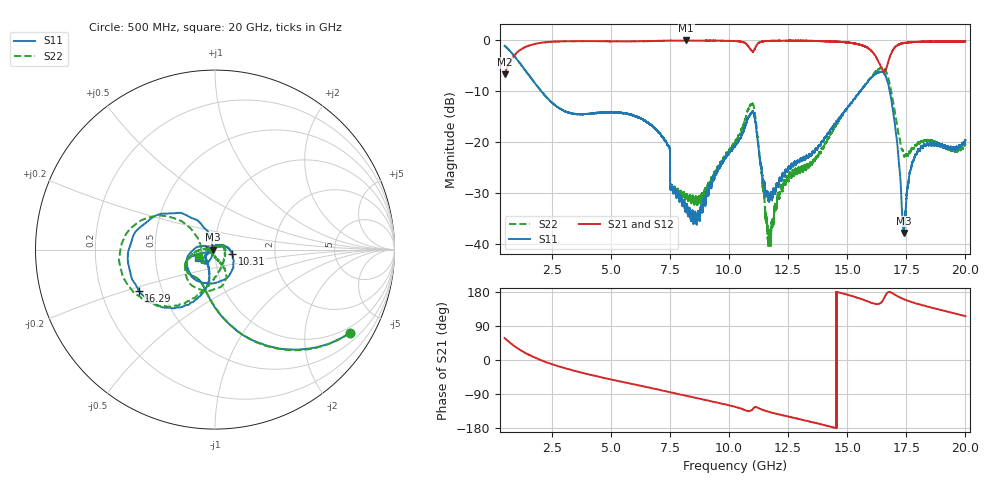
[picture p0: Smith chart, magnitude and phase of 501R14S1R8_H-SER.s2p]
!{501R14S1R8}
!Johanson Technology Inc.
!www.johansontechnology.com
!Test Board Conditions:
!Substrate Type  RO4350B
!Substrate Thickness  20 mil
!Substrate Dk  3.66
!TL Type: GCPW
!TL Trace Width  36 mil
!TL Gap  12 mil
!Electrode orientation  Horizontal
!DUT TOPOLOGY	SERIES
!Mounting Pad LxW  26x36 mil
! Created Wed Mar 11 15:56:41 2020
# mhz S ma R 50
! 2 Port Network Data from SP1.SP block
! freq  magS11  angS11  magS21  angS21  magS12  angS12  magS22  angS22
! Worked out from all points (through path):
!   19501 points, 500 MHz to 20 GHz, reference 50 ohm
!   highest |S21| = -0.04 dB at 8.189 GHz (marker M1); lowest = -6.7 dB at 500 MHz (marker M2)
!   group delay of S21, straight-line fit = 37.6 ps
!   lowest |S11| = -37.8 dB at 17.39 GHz (marker M3), VSWR 1.03, Z = 48.7 + j0.0284 ohm
!   |S11| at or under -10 dB: 2.053 GHz to 15.54 GHz (13.49 GHz wide, 153 % of centre); 15.53921 GHz to 15.541 GHz (1.792 MHz wide, 0.0115 % of centre); 16.8 GHz to end of sweep
!   |S22| runs from -40.4 to -1.1 dB; largest |S21 - S12| = 0.017
!   S11 on the Smith chart (normalised r, x): 500 MHz: 0.80, -3.35; 10.31 GHz: 1.21, -0.05; 16.29 GHz: 0.37, -0.22; 20 GHz: 0.83, -0.08
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500  0.883 -31.7  0.4633 57.8  0.4646 57.9  0.8831 -31.9
1770  0.3834 -83.2  0.9179 6.6  0.9193 6.6  0.3833 -83.1
3750  0.189 -122.8  0.9794 -33.2  0.9802 -33.2  0.1887 -123.6
7000  0.1264 -164.1  0.9844 -78.0  0.9856 -78.1  0.1258 -169.0
7403  0.09341 -166.5  0.9883 -83.6  0.9882 -83.6  0.09286 -177.2
7598  0.03532 -157.6  0.9931 -86.3  0.9929 -86.3  0.03671 -178.4
8189  0.02291 173.2  0.9949 -94.5  0.9921 -94.5  0.03071 -173.4
8693  0.02008 102.9  0.994 -101.4  0.9919 -101.3  0.02767 -138.2
10250  0.09166 -9.3  0.9821 -123.6  0.9816 -123.5  0.1016 -65.8
10309  0.09752 -12.9  0.9799 -124.6  0.9795 -124.5  0.1043 -62.6
11025  0.1964 -132.3  0.7787 -127.7  0.7793 -127.7  0.2326 -128.7
11705  0.0275 179.6  0.9859 -137.1  0.9838 -137.1  0.01245 100.5
12255  0.04864 -152.2  0.9874 -145.6  0.9883 -145.6  0.03392 31.8
13500  0.07805 -129.1  0.9859 -163.7  0.9841 -163.8  0.06021 -25.9
15296  0.2654 -107.3  0.9299 167.0  0.9339 166.7  0.267 -108.9
16288  0.4823 -151.7  0.6424 147.6  0.6377 148.0  0.5132 -152.5
16750  0.3601 146.3  0.6318 179.3  0.6242 180.0  0.416 154.9
17063  0.1211 113.6  0.8724 170.7  0.8705 171.2  0.1703 139.5
17388  0.01293 178.7  0.9365 160.7  0.939 160.8  0.07611 175.2
17693  0.05416 -115.0  0.9555 153.5  0.9597 153.7  0.0807 -151.0
18055  0.08258 -120.8  0.9643 146.6  0.9647 146.8  0.09778 -137.0
20000  0.1044 -154.1  0.9723 115.6  0.9713 116.0  0.09353 -159.0
